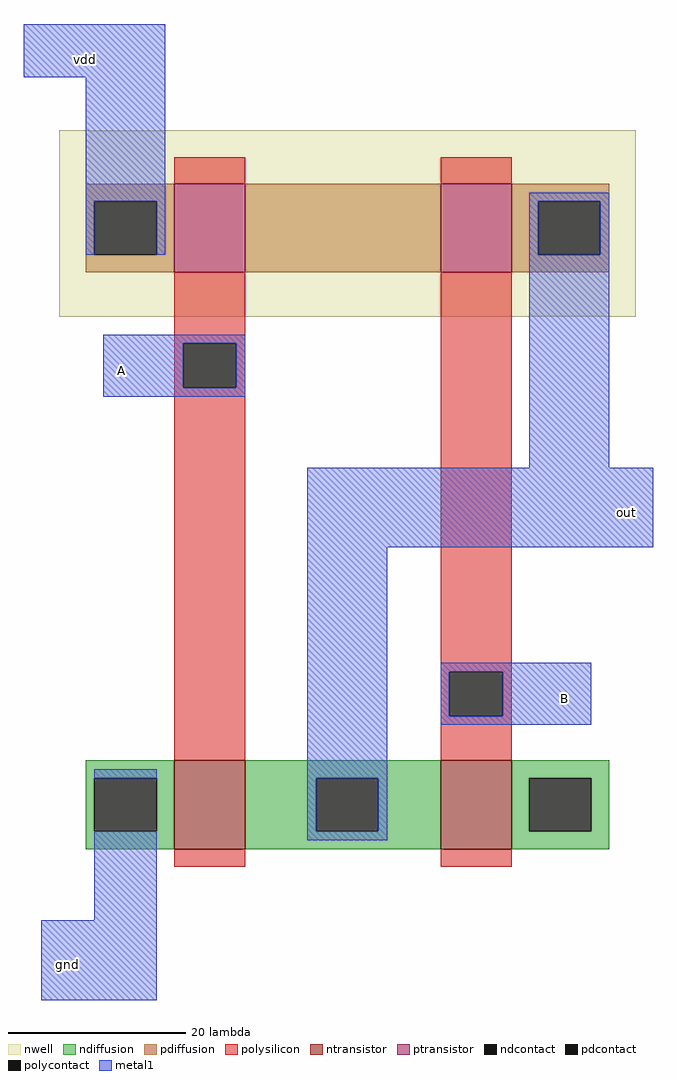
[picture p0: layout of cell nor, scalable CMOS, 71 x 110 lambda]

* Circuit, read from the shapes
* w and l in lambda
.subckt nor A B gnd out vdd
M1 out A gnd VSUBS nfet w=10 l=8
M2 n1 B out VSUBS nfet w=10 l=8
M3 n2 A vdd n3 pfet w=10 l=8
M4 out B n2 n3 pfet w=10 l=8
.ends

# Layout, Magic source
magic
tech scmos
<< nwell >>
rect -7 16 58 37
<< polysilicon >>
rect 6 31 14 34
rect 36 31 44 34
rect 6 13 14 21
rect 6 8 7 13
rect 13 8 14 13
rect 6 -34 14 8
rect 36 -24 44 21
rect 36 -29 37 -24
rect 43 -29 44 -24
rect 36 -34 44 -29
rect 6 -46 14 -44
rect 36 -46 44 -44
<< ndiffusion >>
rect -4 -36 6 -34
rect -4 -42 -3 -36
rect 4 -42 6 -36
rect -4 -44 6 -42
rect 14 -36 36 -34
rect 14 -42 22 -36
rect 29 -42 36 -36
rect 14 -44 36 -42
rect 44 -36 55 -34
rect 44 -42 46 -36
rect 53 -42 55 -36
rect 44 -44 55 -42
<< pdiffusion >>
rect -4 29 6 31
rect -4 23 -3 29
rect 4 23 6 29
rect -4 21 6 23
rect 14 21 36 31
rect 44 29 55 31
rect 44 23 47 29
rect 54 23 55 29
rect 44 21 55 23
<< metal1 >>
rect -11 43 5 49
rect -4 29 5 43
rect -4 23 -3 29
rect 4 23 5 29
rect 46 29 55 30
rect 46 23 47 29
rect 54 23 55 29
rect -2 13 14 14
rect -2 8 7 13
rect 13 8 14 13
rect -2 7 14 8
rect 46 -1 55 23
rect 21 -10 60 -1
rect -3 -36 4 -35
rect -3 -52 4 -42
rect 21 -36 30 -10
rect 36 -24 53 -23
rect 36 -29 37 -24
rect 43 -29 53 -24
rect 36 -30 53 -29
rect 21 -42 22 -36
rect 29 -42 30 -36
rect 21 -43 30 -42
rect -9 -61 4 -52
<< ntransistor >>
rect 6 -44 14 -34
rect 36 -44 44 -34
<< ptransistor >>
rect 6 21 14 31
rect 36 21 44 31
<< polycontact >>
rect 7 8 13 13
rect 37 -29 43 -24
<< ndcontact >>
rect -3 -42 4 -36
rect 22 -42 29 -36
rect 46 -42 53 -36
<< pdcontact >>
rect -3 23 4 29
rect 47 23 54 29
<< labels >>
rlabel metal1 57 -6 57 -6 7 out
rlabel metal1 50 -27 50 -27 1 B
rlabel metal1 0 10 0 10 1 A
rlabel metal1 -6 -57 -6 -57 2 gnd
rlabel metal1 -4 45 -4 45 5 vdd
<< end >>
